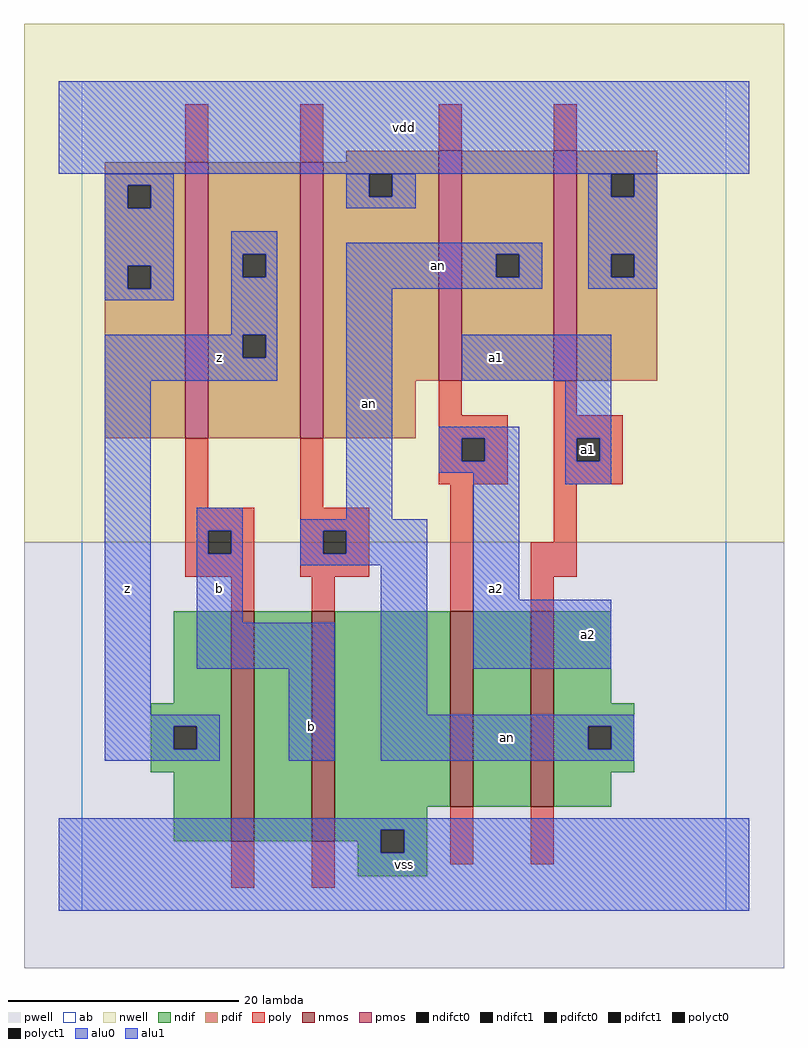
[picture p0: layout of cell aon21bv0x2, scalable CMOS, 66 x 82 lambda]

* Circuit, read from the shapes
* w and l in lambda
.subckt aon21bv0x2 a1 a2 an b vdd vss z
M1 n1 b z VSUBS nfet w=20 l=2
M2 vss an n1 VSUBS nfet w=20 l=2
M3 n2 a2 vss VSUBS nfet w=17 l=2
M4 an a1 n2 VSUBS nfet w=17 l=2
M5 z b vdd n3 pfet w=24 l=2
M6 vdd an z n3 pfet w=24 l=2
M7 an a2 vdd n3 pfet w=20 l=2
M8 vdd a1 an n3 pfet w=20 l=2
.ends

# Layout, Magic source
magic
tech scmos
<< ab >>
rect 0 0 56 72
<< nwell >>
rect -5 32 61 77
<< pwell >>
rect -5 -5 61 32
<< poly >>
rect 9 65 11 70
rect 19 65 21 70
rect 31 66 33 70
rect 41 66 43 70
rect 31 43 33 46
rect 41 43 43 46
rect 31 41 37 43
rect 9 35 11 41
rect 19 35 21 41
rect 31 39 33 41
rect 35 39 37 41
rect 31 37 37 39
rect 41 41 47 43
rect 41 39 43 41
rect 45 39 47 41
rect 41 37 47 39
rect 9 33 15 35
rect 9 31 11 33
rect 13 31 15 33
rect 9 29 15 31
rect 19 33 25 35
rect 19 31 21 33
rect 23 31 25 33
rect 19 29 25 31
rect 13 26 15 29
rect 20 26 22 29
rect 32 26 34 37
rect 41 32 43 37
rect 39 29 43 32
rect 39 26 41 29
rect 13 2 15 6
rect 20 2 22 6
rect 32 4 34 9
rect 39 4 41 9
<< ndif >>
rect 8 18 13 26
rect 6 16 13 18
rect 6 14 8 16
rect 10 14 13 16
rect 6 12 13 14
rect 8 6 13 12
rect 15 6 20 26
rect 22 9 32 26
rect 34 9 39 26
rect 41 18 46 26
rect 41 16 48 18
rect 41 14 44 16
rect 46 14 48 16
rect 41 12 48 14
rect 41 9 46 12
rect 22 7 30 9
rect 22 6 26 7
rect 24 5 26 6
rect 28 5 30 7
rect 24 3 30 5
<< pdif >>
rect 23 65 31 66
rect 2 63 9 65
rect 2 61 4 63
rect 6 61 9 63
rect 2 56 9 61
rect 2 54 4 56
rect 6 54 9 56
rect 2 41 9 54
rect 11 57 19 65
rect 11 55 14 57
rect 16 55 19 57
rect 11 50 19 55
rect 11 48 14 50
rect 16 48 19 50
rect 11 41 19 48
rect 21 64 31 65
rect 21 62 25 64
rect 27 62 31 64
rect 21 46 31 62
rect 33 57 41 66
rect 33 55 36 57
rect 38 55 41 57
rect 33 46 41 55
rect 43 64 50 66
rect 43 62 46 64
rect 48 62 50 64
rect 43 57 50 62
rect 43 55 46 57
rect 48 55 50 57
rect 43 46 50 55
rect 21 41 29 46
<< alu1 >>
rect -2 64 58 72
rect 13 57 17 59
rect 13 55 14 57
rect 16 55 17 57
rect 13 50 17 55
rect 2 48 14 50
rect 16 48 17 50
rect 2 46 17 48
rect 2 17 6 46
rect 10 33 14 35
rect 33 46 46 50
rect 31 41 38 42
rect 31 39 33 41
rect 35 39 38 41
rect 31 38 38 39
rect 10 31 11 33
rect 13 31 14 33
rect 10 25 14 31
rect 10 21 22 25
rect 2 16 12 17
rect 2 14 8 16
rect 10 14 12 16
rect 2 13 12 14
rect 18 13 22 21
rect 34 27 38 38
rect 42 41 46 46
rect 42 39 43 41
rect 45 39 46 41
rect 42 37 46 39
rect 34 21 46 27
rect -2 7 58 8
rect -2 5 26 7
rect 28 5 58 7
rect -2 0 58 5
<< nmos >>
rect 13 6 15 26
rect 20 6 22 26
rect 32 9 34 26
rect 39 9 41 26
<< pmos >>
rect 9 41 11 65
rect 19 41 21 65
rect 31 46 33 66
rect 41 46 43 66
<< polyct0 >>
rect 21 31 23 33
<< polyct1 >>
rect 33 39 35 41
rect 43 39 45 41
rect 11 31 13 33
<< ndifct0 >>
rect 44 14 46 16
<< ndifct1 >>
rect 8 14 10 16
rect 26 5 28 7
<< pdifct0 >>
rect 4 61 6 63
rect 4 54 6 56
rect 25 62 27 64
rect 36 55 38 57
rect 46 62 48 64
rect 46 55 48 57
<< pdifct1 >>
rect 14 55 16 57
rect 14 48 16 50
<< alu0 >>
rect 2 63 8 64
rect 2 61 4 63
rect 6 61 8 63
rect 23 62 25 64
rect 27 62 29 64
rect 23 61 29 62
rect 44 62 46 64
rect 48 62 50 64
rect 2 56 8 61
rect 2 54 4 56
rect 6 54 8 56
rect 2 53 8 54
rect 23 57 40 58
rect 23 55 36 57
rect 38 55 40 57
rect 23 54 40 55
rect 44 57 50 62
rect 44 55 46 57
rect 48 55 50 57
rect 44 54 50 55
rect 23 34 27 54
rect 19 33 30 34
rect 19 31 21 33
rect 23 31 30 33
rect 19 30 30 31
rect 26 17 30 30
rect 26 16 48 17
rect 26 14 44 16
rect 46 14 48 16
rect 26 13 48 14
<< labels >>
rlabel alu0 25 44 25 44 6 an
rlabel alu0 37 15 37 15 6 an
rlabel alu0 31 56 31 56 6 an
rlabel alu1 4 28 4 28 6 z
rlabel alu1 20 16 20 16 6 b
rlabel alu1 12 28 12 28 6 b
rlabel alu1 12 48 12 48 6 z
rlabel alu1 28 4 28 4 6 vss
rlabel alu1 36 28 36 28 6 a2
rlabel alu1 36 48 36 48 6 a1
rlabel alu1 28 68 28 68 6 vdd
rlabel alu1 44 24 44 24 6 a2
rlabel polyct1 44 40 44 40 6 a1
<< end >>
